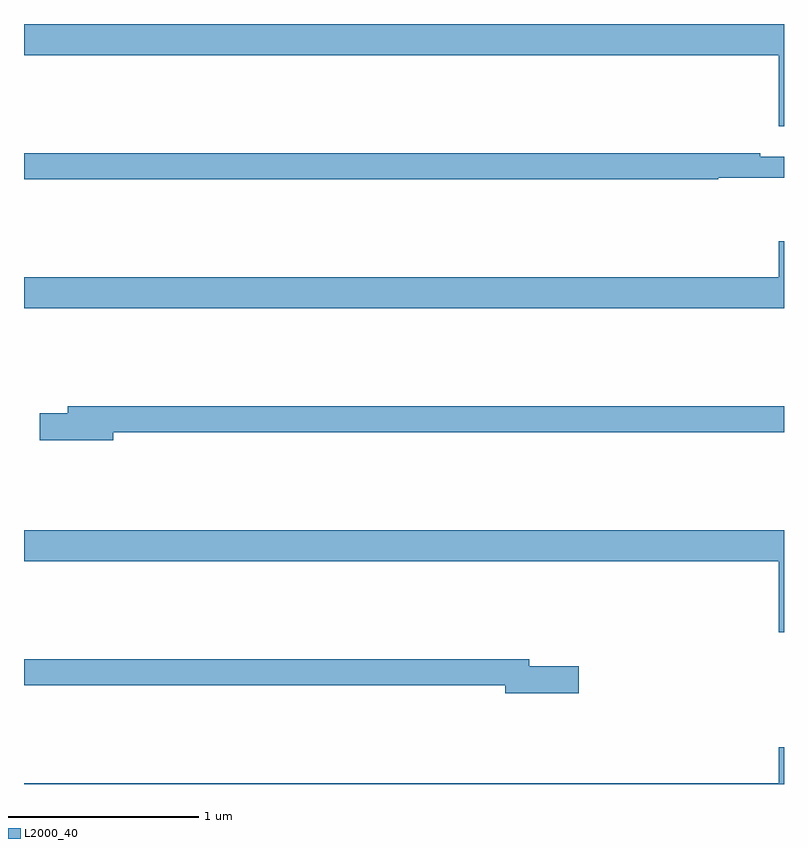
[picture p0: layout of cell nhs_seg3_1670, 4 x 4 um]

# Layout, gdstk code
import gdstk
lib = gdstk.Library(unit=1e-6, precision=1e-09)
def P(c, l, *ps):  # polygons
    for p in ps: c.add(gdstk.Polygon(p, *l))
L2000_40 = (2000, 40)

nhs_seg3_1670 = lib.new_cell('nhs_seg3_1670')
P(nhs_seg3_1670, L2000_40, [(201,714.4),(197,714.4),(197,714.236),(200.972,714.236),(200.972,713.862),(201,713.862)],
  [(200.655,713.592),(201,713.592),(201,713.701),(200.876,713.701),(200.876,713.72),(197,713.72),(197,713.584),(200.655,713.584)],
  [(201,713.257),(200.972,713.257),(200.972,713.068),(197,713.068),(197,712.904),(201,712.904)],
  [(197.47,712.252),(201,712.252),(201,712.388),(197.231,712.388),(197.231,712.352),(197.082,712.352),(197.082,712.21),(197.47,712.21)],
  [(201,711.736),(197,711.736),(197,711.572),(200.972,711.572),(200.972,711.198),(201,711.198)],
  [(199.921,711.02),(199.66,711.02),(199.66,711.056),(197,711.056),(197,710.92),(199.532,710.92),(199.532,710.878),(199.921,710.878)],
  [(201,710.593),(200.972,710.593),(200.972,710.404),(197,710.404),(197,710.4),(201,710.4)])

lib.write_gds('nhs_seg3_1670.gds')
